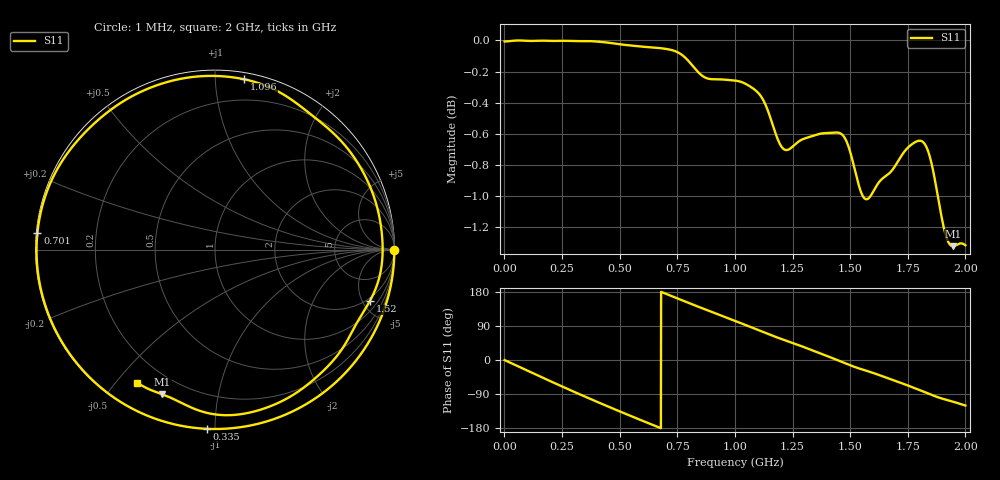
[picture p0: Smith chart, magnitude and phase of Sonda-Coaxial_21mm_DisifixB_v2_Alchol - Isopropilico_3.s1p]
! TOUCHSTONE file generated by CST MICROWAVE STUDIO
! Date and time: Sun Aug  2 20:04:10 2026
! Project name: Sonda-Coaxial_21mm_DisifixB_v2_Alchol - Isopropilico.cst
! Parameters = {h_recipiente=20; l_conector=50; r_arandela=35; r_ext=10.5; r_int=3; r_recipiente=100; z_recipiente=-50}
! Header version: 2018
! Port assignment regex: !\s*Touchstone port\s*([0-9]+)\s*=\s*(CST MWS port|CST DS port)\s*([0-9]+|Zmin|Zmax)\s*\(\"(.*)\"\)(\s*mode\s*([0-9]+))?.*
! Touchstone port assignment:
! Touchstone port 1 = CST MWS port 1 ("")
# GHz S RI R 50
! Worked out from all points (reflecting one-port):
!   2000 points, 1 MHz to 2 GHz, reference 50 ohm
!   lowest |S11| = -1.3 dB at 1.946 GHz (marker M1), VSWR 13.16, Z = 5.65 - j34.7 ohm
!   phase of S11 starts at -0 deg and turns -480 deg over the sweep
!   S11 on the Smith chart (normalised r, x): 1 MHz: open; 335 MHz: 0.00, -0.95; 701 MHz: 0.00, +0.05; 1.096 GHz: 0.05, +1.19; 1.52 GHz: 1.71, -5.66; 2 GHz: 0.10, -0.57
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0.001  0.9993 -0.00491
0.057  0.9608 -0.2773
0.116  0.8412 -0.5401
0.186  0.6126 -0.7901
0.251  0.341 -0.9398
0.335  -0.0467 -0.9984
0.414  -0.3982 -0.9163
0.501  -0.7151 -0.695
0.602  -0.9414 -0.3232
0.701  -0.9894 0.0931
0.751  -0.9447 0.3004
0.878  -0.6527 0.7208
0.942  -0.4446 0.8639
1.001  -0.222 0.945
1.096  0.1636 0.9488
1.163  0.4121 0.8448
1.251  0.6522 0.6552
1.319  0.81 0.4587
1.384  0.9047 0.2305
1.448  0.9339 -0.0157
1.501  0.8929 -0.2235
1.52  0.8623 -0.2873
1.636  0.6711 -0.603
1.751  0.3549 -0.8529
1.835  0.0379 -0.9219
1.884  -0.1384 -0.8771
1.946  -0.2931 -0.8072
2  -0.4328 -0.7423
